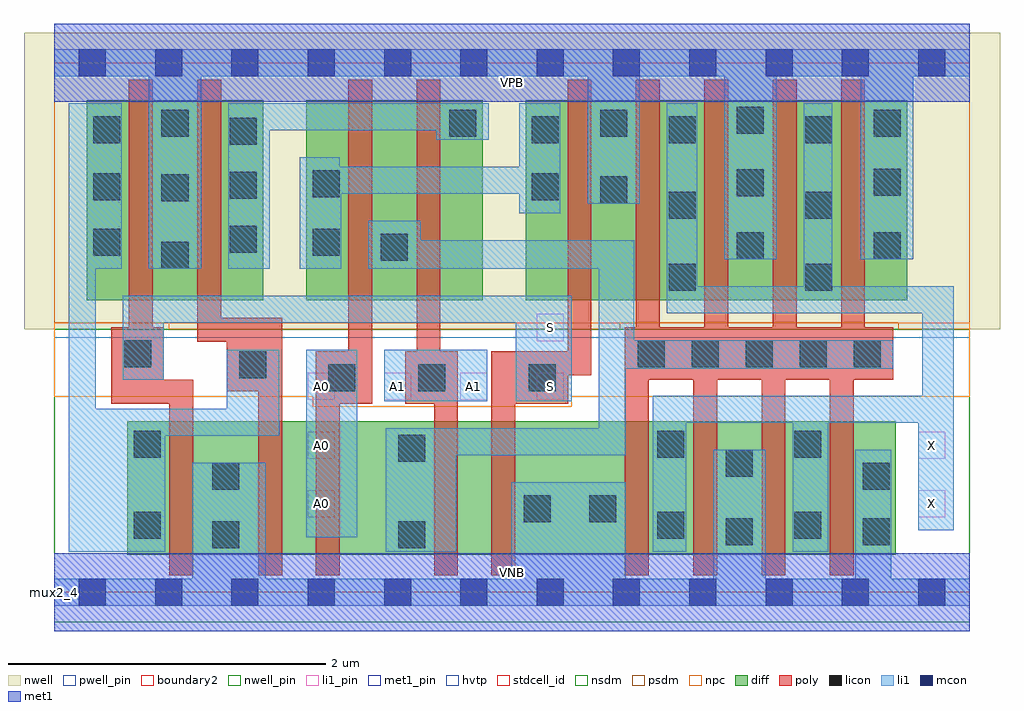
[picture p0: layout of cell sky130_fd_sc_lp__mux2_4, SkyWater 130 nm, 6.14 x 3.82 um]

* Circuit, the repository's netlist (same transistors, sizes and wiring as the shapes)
* Copyright 2020 The SkyWater PDK Authors
*
* Licensed under the Apache License, Version 2.0 (the "License");
* you may not use this file except in compliance with the License.
* You may obtain a copy of the License at
*
*     https://www.apache.org/licenses/LICENSE-2.0
*
* Unless required by applicable law or agreed to in writing, software
* distributed under the License is distributed on an "AS IS" BASIS,
* WITHOUT WARRANTIES OR CONDITIONS OF ANY KIND, either express or implied.
* See the License for the specific language governing permissions and
* limitations under the License.
*
* SPDX-License-Identifier: Apache-2.0

.SUBCKT sky130_fd_sc_lp__mux2_4 A0 A1 S VGND VNB VPB VPWR X
*.PININFO A0:I A1:I S:I VGND:I VNB:I VPB:I VPWR:I X:O
MMNA00 xb A0 smdNA0 VNB sky130_fd_pr__nfet_01v8 m=1 w=0.84U l=0.15U mult=1 sa=0.265
+ sb=0.265 sd=0.28 area=0.063 perim=1.14
MMNA01 smdNA0 Sb VGND VNB sky130_fd_pr__nfet_01v8 m=1 w=0.84U l=0.15U mult=1 sa=0.265
+ sb=0.265 sd=0.28 area=0.063 perim=1.14
MMNA10 xb A1 sndNA1 VNB sky130_fd_pr__nfet_01v8 m=1 w=0.84U l=0.15U mult=1 sa=0.265
+ sb=0.265 sd=0.28 area=0.063 perim=1.14
MMNA11 sndNA1 S VGND VNB sky130_fd_pr__nfet_01v8 m=1 w=0.84U l=0.15U mult=1 sa=0.265
+ sb=0.265 sd=0.28 area=0.063 perim=1.14
MMIN1 Sb S VGND VNB sky130_fd_pr__nfet_01v8 m=1 w=0.84U l=0.15U mult=1 sa=0.265
+ sb=0.265 sd=0.28 area=0.063 perim=1.14
MMIN2 X xb VGND VNB sky130_fd_pr__nfet_01v8 m=4 w=0.84U l=0.15U mult=1 sa=0.265
+ sb=0.265 sd=0.28 area=0.063 perim=1.14
MMPA00 VPWR S sndPS VPB sky130_fd_pr__pfet_01v8_hvt m=1 w=1.26U l=0.15U mult=1
+ sa=0.265 sb=0.265 sd=0.28 area=0.063 perim=1.14
MMPA01 sndPS A0 xb VPB sky130_fd_pr__pfet_01v8_hvt m=1 w=1.26U l=0.15U mult=1 sa=0.265
+ sb=0.265 sd=0.28 area=0.063 perim=1.14
MMPA10 VPWR Sb sndPSb VPB sky130_fd_pr__pfet_01v8_hvt m=1 w=1.26U l=0.15U mult=1
+ sa=0.265 sb=0.265 sd=0.28 area=0.063 perim=1.14
MMPA11 sndPSb A1 xb VPB sky130_fd_pr__pfet_01v8_hvt m=1 w=1.26U l=0.15U mult=1
+ sa=0.265 sb=0.265 sd=0.28 area=0.063 perim=1.14
MMIP1 Sb S VPWR VPB sky130_fd_pr__pfet_01v8_hvt m=1 w=1.26U l=0.15U mult=1 sa=0.265
+ sb=0.265 sd=0.28 area=0.063 perim=1.14
MMIP2 X xb VPWR VPB sky130_fd_pr__pfet_01v8_hvt m=4 w=1.26U l=0.15U mult=1 sa=0.265
+ sb=0.265 sd=0.28 area=0.063 perim=1.14
.ENDS sky130_fd_sc_lp__mux2_4

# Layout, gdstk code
import gdstk
lib = gdstk.Library(unit=1e-6, precision=1e-09)
def R(c, l, rs):  # rectangles x0, y0, x1, y1
    for r in rs: c.add(gdstk.rectangle(r[:2], r[2:], *l))
def A(c, l, x, y, w, h, nx, ny, dx, dy):  # array of equal rectangles
    R(c, l, [(x+i*dx, y+j*dy, x+i*dx+w, y+j*dy+h) for i in range(nx) for j in range(ny)])
def P(c, l, *ps):  # polygons
    for p in ps: c.add(gdstk.Polygon(p, *l))
nwell_pin = (64, 16)
nwell = (64, 20)
diff = (65, 20)
poly = (66, 20)
licon = (66, 44)
li1_pin = (67, 16)
li1 = (67, 20)
mcon = (67, 44)
met1_pin = (68, 16)
met1 = (68, 20)
hvtp = (78, 44)
stdcell_id = (81, 4)
nsdm = (93, 44)
psdm = (94, 20)
npc = (95, 20)
pwell_pin = (122, 16)
boundary2 = (236, 0)

sky130_fd_sc_lp__mux2_4 = lib.new_cell('sky130_fd_sc_lp__mux2_4')
R(sky130_fd_sc_lp__mux2_4, nwell_pin, [(0,3.085,5.76,3.33)])
R(sky130_fd_sc_lp__mux2_4, nwell, [(-0.19,1.655,5.95,3.52)])
R(sky130_fd_sc_lp__mux2_4, diff, [(0.46,0.235,5.295,1.075), (0.205,1.835,1.315,3.095), (1.585,1.835,2.695,3.095), (2.965,1.835,5.365,3.095)])
P(sky130_fd_sc_lp__mux2_4, poly, [(0.875,1.335),(0.69,1.335),(0.69,1.665),(0.62,1.665),(0.62,3.225),(0.47,3.225),(0.47,1.665),(0.36,1.665),(0.36,1.185),(0.725,1.185),(0.725,0.105),(0.875,0.105)],
  [(1.435,1.725),(1.05,1.725),(1.05,3.225),(0.9,3.225),(0.9,1.575),(1.085,1.575),(1.085,1.265),(1.285,1.265),(1.285,0.105),(1.435,0.105)],
  [(2,3.225),(1.85,3.225),(1.85,1.515),(1.645,1.515),(1.645,0.105),(1.795,0.105),(1.795,1.185),(2,1.185)],
  [(2.54,1.515),(2.43,1.515),(2.43,3.225),(2.28,3.225),(2.28,1.515),(2.21,1.515),(2.21,1.185),(2.39,1.185),(2.39,0.105),(2.54,0.105)],
  [(3.38,3.225),(3.23,3.225),(3.23,1.515),(2.75,1.515),(2.75,0.105),(2.9,0.105),(2.9,1.185),(3.235,1.185),(3.235,1.365),(3.38,1.365)],
  [(5.28,1.665),(5.1,1.665),(5.1,3.225),(4.95,3.225),(4.95,1.665),(4.67,1.665),(4.67,3.225),(4.52,3.225),(4.52,1.665),(4.24,1.665),(4.24,3.225),(4.09,3.225),(4.09,1.665),(3.81,1.665),(3.81,3.225),(3.66,3.225),(3.66,1.665),(3.59,1.665),(3.59,0.105),(3.74,0.105),(3.74,1.335),(4.02,1.335),(4.02,0.105),(4.17,0.105),(4.17,1.335),(4.45,1.335),(4.45,0.105),(4.6,0.105),(4.6,1.335),(4.88,1.335),(4.88,0.105),(5.03,0.105),(5.03,1.335),(5.28,1.335)])
A(sky130_fd_sc_lp__mux2_4, licon, 3.67, 1.415, 0.17, 0.17, 5, 1, 0.34, 0)
A(sky130_fd_sc_lp__mux2_4, licon, 4.295, 2.095, 0.17, 0.17, 1, 3, 0, 0.395)
A(sky130_fd_sc_lp__mux2_4, licon, 1.105, 2.135, 0.17, 0.17, 1, 3, 0, 0.34)
A(sky130_fd_sc_lp__mux2_4, licon, 3.005, 2.825, 0.17, 0.17, 3, 1, 0.86, 0)
R(sky130_fd_sc_lp__mux2_4, licon, [(0.995,0.275,1.165,0.445), (2.165,0.275,2.335,0.445), (4.225,0.295,4.395,0.465), (5.085,0.295,5.255,0.465), (0.5,0.335,0.67,0.505), (3.795,0.335,3.965,0.505), (4.655,0.335,4.825,0.505), (2.955,0.44,3.125,0.61), (3.365,0.44,3.535,0.61), (0.995,0.645,1.165,0.815), (5.085,0.645,5.255,0.815), (4.225,0.725,4.395,0.895), (2.165,0.82,2.335,0.99), (0.5,0.845,0.67,1.015), (3.795,0.845,3.965,1.015), (4.655,0.845,4.825,1.015), (1.725,1.265,1.895,1.435), (2.29,1.265,2.46,1.435), (2.985,1.265,3.155,1.435), (1.165,1.345,1.335,1.515), (0.44,1.415,0.61,1.585), (3.865,1.895,4.035,2.065), (4.725,1.895,4.895,2.065), (0.675,2.035,0.845,2.205), (2.055,2.085,2.225,2.255), (5.155,2.095,5.325,2.265), (0.245,2.115,0.415,2.285), (1.625,2.115,1.795,2.285), (3.865,2.35,4.035,2.52), (4.725,2.35,4.895,2.52), (3.435,2.445,3.605,2.615), (0.675,2.46,0.845,2.63), (0.245,2.465,0.415,2.635), (3.005,2.465,3.175,2.635), (1.625,2.485,1.795,2.655), (5.155,2.495,5.325,2.665), (0.245,2.825,0.415,2.995), (0.675,2.865,0.845,3.035), (2.485,2.865,2.655,3.035), (3.435,2.865,3.605,3.035), (5.155,2.865,5.325,3.035)])
A(sky130_fd_sc_lp__mux2_4, li1_pin, 1.595, 1.21, 0.17, 0.17, 4, 1, 0.48, 0)
R(sky130_fd_sc_lp__mux2_4, li1_pin, [(1.595,0.47,1.765,0.64), (5.435,0.47,5.605,0.64), (1.595,0.84,1.765,1.01), (5.435,0.84,5.605,1.01), (3.035,1.58,3.205,1.75)])
R(sky130_fd_sc_lp__mux2_4, li1, [(1.585,0.345,1.905,1.525), (2.075,1.2,2.725,1.525)])
P(sky130_fd_sc_lp__mux2_4, li1, [(5.075,2.095),(5.075,3.245),(4.545,3.245),(4.545,2.095),(4.215,2.095),(4.215,3.245),(3.685,3.245),(3.685,2.445),(3.355,2.445),(3.355,3.245),(0.925,3.245),(0.925,2.035),(0.595,2.035),(0.595,3.245),(0,3.245),(0,3.415),(5.76,3.415),(5.76,3.245),(5.405,3.245),(5.405,2.095)],
  [(4.145,0.085),(4.145,0.895),(4.475,0.895),(4.475,0.085),(5.04,0.085),(5.04,0.895),(5.265,0.895),(5.265,0.085),(5.76,0.085),(5.76,-0.085),(0,-0.085),(0,0.085),(0.87,0.085),(0.87,0.815),(1.33,0.815),(1.33,0.085),(2.875,0.085),(2.875,0.69),(3.595,0.69),(3.595,0.085)],
  [(3.425,1.03),(3.425,2.035),(1.975,2.035),(1.975,2.335),(2.305,2.335),(2.305,2.215),(3.65,2.215),(3.65,1.585),(5.28,1.585),(5.28,1.405),(3.595,1.405),(3.595,0.86),(2.53,0.86),(2.53,0.255),(2.085,0.255),(2.085,1.03)],
  [(1.085,1.155),(1.085,1.525),(1.415,1.525),(1.415,0.985),(0.7,0.985),(0.7,0.255),(0.09,0.255),(0.09,3.075),(0.425,3.075),(0.425,2.035),(0.26,2.035),(0.26,1.155)],
  [(4.045,1.925),(4.715,1.925),(4.715,3.075),(4.895,3.075),(4.895,1.925),(5.66,1.925),(5.66,0.39),(5.435,0.39),(5.435,1.065),(4.87,1.065),(4.87,0.255),(4.645,0.255),(4.645,1.065),(3.975,1.065),(3.975,0.255),(3.765,0.255),(3.765,1.235),(5.46,1.235),(5.46,1.755),(3.855,1.755),(3.855,3.075),(4.045,3.075)],
  [(1.795,2.675),(2.925,2.675),(2.925,3.075),(3.185,3.075),(3.185,2.385),(2.925,2.385),(2.925,2.505),(1.805,2.505),(1.805,2.035),(1.545,2.035),(1.545,2.735),(1.795,2.735)],
  [(2.405,2.905),(1.355,2.905),(1.355,2.035),(1.095,2.035),(1.095,3.075),(2.735,3.075),(2.735,2.845),(2.405,2.845)],
  [(0.43,1.335),(0.43,1.865),(3.255,1.865),(3.255,1.2),(2.905,1.2),(2.905,1.695),(0.69,1.695),(0.69,1.335)])
A(sky130_fd_sc_lp__mux2_4, mcon, 0.155, -0.085, 0.17, 0.17, 12, 2, 0.48, 3.33)
R(sky130_fd_sc_lp__mux2_4, met1_pin, [(0,0,5.76,0.245), (0,3.085,5.76,3.33)])
R(sky130_fd_sc_lp__mux2_4, met1, [(0,-0.245,5.76,0.245), (0,3.085,5.76,3.575)])
R(sky130_fd_sc_lp__mux2_4, hvtp, [(0,1.6,5.76,3.33)])
R(sky130_fd_sc_lp__mux2_4, stdcell_id, [(0,0,5.76,3.33)])
R(sky130_fd_sc_lp__mux2_4, nsdm, [(0,-0.19,5.76,1.655)])
P(sky130_fd_sc_lp__mux2_4, psdm, [(5.76,3.52),(0,3.52),(0,1.695),(0.72,1.695),(0.72,1.655),(3.56,1.655),(3.56,1.695),(5.31,1.695),(5.31,1.655),(5.76,1.655)])
P(sky130_fd_sc_lp__mux2_4, npc, [(5.76,1.695),(0,1.695),(0,1.23),(1.625,1.23),(1.625,1.165),(3.255,1.165),(3.255,1.23),(5.76,1.23)])
R(sky130_fd_sc_lp__mux2_4, pwell_pin, [(0,0,5.76,0.245)])
R(sky130_fd_sc_lp__mux2_4, boundary2, [(0,0,5.76,3.33)])
sky130_fd_sc_lp__mux2_4.add(gdstk.Label('VNB', (2.88,0.123), layer=64, texttype=59))
sky130_fd_sc_lp__mux2_4.add(gdstk.Label('VPB', (2.88,3.208), layer=64, texttype=5))
sky130_fd_sc_lp__mux2_4.add(gdstk.Label('mux2_4', (0,0), layer=83, texttype=44))
sky130_fd_sc_lp__mux2_4.add(gdstk.Label('VPWR', (2.88,3.208), layer=68, texttype=5))
sky130_fd_sc_lp__mux2_4.add(gdstk.Label('VGND', (2.88,0.123), layer=68, texttype=5))
sky130_fd_sc_lp__mux2_4.add(gdstk.Label('S', (3.12,1.295), layer=67, texttype=5))
sky130_fd_sc_lp__mux2_4.add(gdstk.Label('S', (3.12,1.665), layer=67, texttype=5))
sky130_fd_sc_lp__mux2_4.add(gdstk.Label('A0', (1.68,0.555), layer=67, texttype=5))
sky130_fd_sc_lp__mux2_4.add(gdstk.Label('A0', (1.68,0.925), layer=67, texttype=5))
sky130_fd_sc_lp__mux2_4.add(gdstk.Label('A0', (1.68,1.295), layer=67, texttype=5))
sky130_fd_sc_lp__mux2_4.add(gdstk.Label('A1', (2.16,1.295), layer=67, texttype=5))
sky130_fd_sc_lp__mux2_4.add(gdstk.Label('A1', (2.64,1.295), layer=67, texttype=5))
sky130_fd_sc_lp__mux2_4.add(gdstk.Label('X', (5.52,0.555), layer=67, texttype=5))
sky130_fd_sc_lp__mux2_4.add(gdstk.Label('X', (5.52,0.925), layer=67, texttype=5))

lib.write_gds('sky130_fd_sc_lp__mux2_4.gds')
